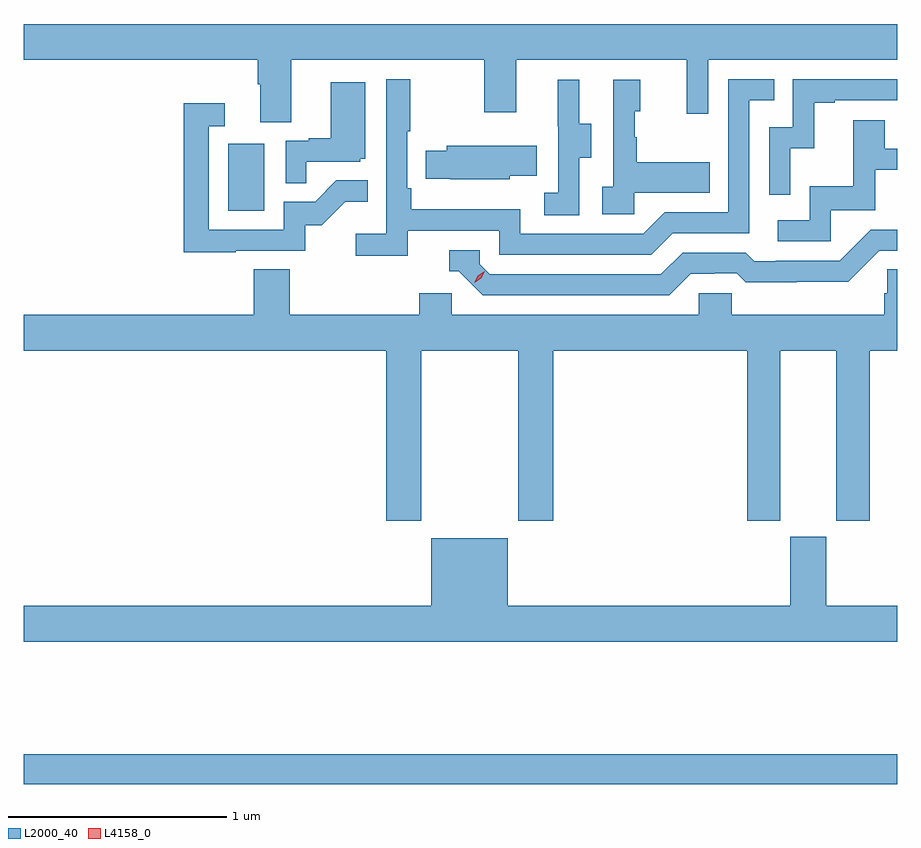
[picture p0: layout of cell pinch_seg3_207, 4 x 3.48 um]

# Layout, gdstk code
import gdstk
lib = gdstk.Library(unit=1e-6, precision=1e-09)
def R(c, l, rs):  # rectangles x0, y0, x1, y1
    for r in rs: c.add(gdstk.rectangle(r[:2], r[2:], *l))
def P(c, l, *ps):  # polygons
    for p in ps: c.add(gdstk.Polygon(p, *l))
L2000_40 = (2000, 40)
L4158_0 = (4158, 0)

pinch_seg3_207 = lib.new_cell('pinch_seg3_207')
R(pinch_seg3_207, L2000_40, [(963.583,730.9,967.583,731.036), (964.52,733.524,964.684,733.831)])
P(pinch_seg3_207, L2000_40, [(964.807,734.216),(965.692,734.216),(965.692,733.977),(965.839,733.977),(965.839,734.216),(966.62,734.216),(966.62,733.968),(966.717,733.968),(966.717,734.216),(967.583,734.216),(967.583,734.38),(963.583,734.38),(963.583,734.216),(964.655,734.216),(964.655,734.104),(964.667,734.104),(964.667,733.93),(964.807,733.93)],
  [(965.342,733.434),(965.76,733.434),(965.76,733.323),(966.457,733.323),(966.556,733.422),(966.906,733.422),(966.906,734.031),(967.019,734.031),(967.019,734.127),(966.81,734.127),(966.81,733.518),(966.519,733.518),(966.42,733.419),(965.856,733.419),(965.856,733.531),(965.357,733.531),(965.357,733.627),(965.34,733.627),(965.34,733.888),(965.353,733.888),(965.353,734.128),(965.244,734.128),(965.244,733.42),(965.103,733.42),(965.103,733.318),(965.342,733.318)],
  [(967.092,733.811),(967.202,733.811),(967.202,734.019),(967.297,734.019),(967.297,734.031),(967.583,734.031),(967.583,734.127),(967.104,734.127),(967.104,733.908),(966.996,733.908),(966.996,733.599),(967.092,733.599)],
  [(966.378,733.607),(966.725,733.607),(966.725,733.747),(966.391,733.747),(966.391,733.862),(966.381,733.862),(966.381,733.98),(966.406,733.98),(966.406,734.125),(966.282,734.125),(966.282,733.634),(966.231,733.634),(966.231,733.509),(966.378,733.509)],
  [(966.126,733.768),(966.181,733.768),(966.181,733.923),(966.127,733.923),(966.127,734.125),(966.029,734.125),(966.029,733.911),(966.03,733.911),(966.03,733.607),(965.967,733.607),(965.967,733.504),(966.126,733.504)],
  [(964.877,733.749),(965.124,733.749),(965.124,733.764),(965.146,733.764),(965.146,734.113),(964.988,734.113),(964.988,733.858),(964.889,733.858),(964.889,733.845),(964.782,733.845),(964.782,733.651),(964.877,733.651)],
  [(964.553,733.341),(964.872,733.341),(964.872,733.458),(964.948,733.458),(965.055,733.565),(965.159,733.565),(965.159,733.664),(965.015,733.664),(964.917,733.566),(964.773,733.566),(964.773,733.437),(964.431,733.437),(964.431,733.911),(964.504,733.911),(964.504,734.017),(964.315,734.017),(964.315,733.336),(964.553,733.336)],
  [(967.278,733.527),(967.483,733.527),(967.483,733.713),(967.583,733.713),(967.583,733.809),(967.525,733.809),(967.525,733.939),(967.381,733.939),(967.381,733.636),(967.182,733.636),(967.182,733.482),(967.035,733.482),(967.035,733.386),(967.278,733.386)],
  [(965.808,733.685),(965.933,733.685),(965.933,733.822),(965.519,733.822),(965.519,733.8),(965.425,733.8),(965.425,733.671),(965.536,733.671),(965.536,733.67),(965.808,733.67)],
  [(966.637,733.236),(966.744,733.236),(966.744,733.239),(966.847,733.239),(966.889,733.197),(967.122,733.197),(967.122,733.199),(967.358,733.199),(967.5,733.341),(967.583,733.341),(967.583,733.437),(967.461,733.437),(967.32,733.296),(967.027,733.296),(967.027,733.293),(966.928,733.293),(966.889,733.332),(966.6,733.332),(966.501,733.233),(965.718,733.233),(965.67,733.281),(965.67,733.344),(965.531,733.344),(965.531,733.248),(965.574,733.248),(965.685,733.137),(966.538,733.137)],
  [(965.403,732.884),(965.848,732.884),(965.848,732.105),(966.008,732.105),(966.008,732.884),(966.896,732.884),(966.896,732.105),(967.048,732.105),(967.048,732.884),(967.304,732.884),(967.304,732.105),(967.457,732.105),(967.457,732.884),(967.583,732.884),(967.583,733.256),(967.537,733.256),(967.537,733.146),(967.523,733.146),(967.523,733.048),(966.825,733.048),(966.825,733.146),(966.675,733.146),(966.675,733.048),(965.544,733.048),(965.544,733.146),(965.393,733.146),(965.393,733.048),(964.802,733.048),(964.802,733.256),(964.637,733.256),(964.637,733.048),(963.583,733.048),(963.583,732.884),(965.243,732.884),(965.243,732.105),(965.403,732.105)],
  [(967.583,731.716),(967.258,731.716),(967.258,732.033),(967.094,732.033),(967.094,731.716),(965.8,731.716),(965.8,732.025),(965.45,732.025),(965.45,731.716),(963.583,731.716),(963.583,731.552),(967.583,731.552)])
P(pinch_seg3_207, L4158_0, [(965.647,733.195),(965.647,733.195),(965.663,733.228),(965.694,733.248),(965.694,733.248),(965.694,733.247),(965.678,733.215),(965.647,733.195)])

lib.write_gds('pinch_seg3_207.gds')
